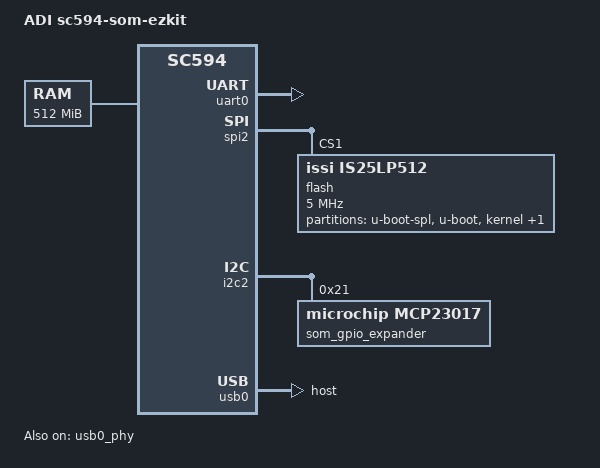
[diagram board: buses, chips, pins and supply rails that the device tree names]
/*
 * Device tree for ADI sc594-som-ezkit board
 *
 * Copyright 2014 - 2020 Analog Devices Inc.
 *
 * Licensed under the GPL-2 or later.
 *
 */

/dts-v1/;

#include <dt-bindings/gpio/gpio.h>
#include <dt-bindings/pinctrl/adi,adsp-sc594-pinctrl.h>
#include <dt-bindings/pinctrl/adi-adsp-sru.h>
#include <dt-bindings/net/ti-dp83867.h>
#include "sc59x.dtsi"

/ {
	model = "ADI sc594-som-ezkit";
	compatible = "adi,sc594-som-ezkit", "adi,sc59x";

	chosen {
		stdout-path = &uart1;
	};

	aliases {
	};

	memory@80000000 { /*4 Gbit DDR*/
		device_type = "memory";
		reg = <0xa0000000 0x20000000>;
	};

	reserved-memory {
		vdev0vrings: vdev0vring0@20080000 {
			reg = <0x20080000 0x4000>;
			no-map;
		};

		vdev0buffer: vdev0buffer@20084000 {
			compatible = "shared-dma-pool";
			reg = <0x20084000 0x20000>;
			no-map;
		};

		vdev1vrings: vdev0vring0@200A4000 {
			reg = <0x200A4000 0x4000>;
			no-map;
		};

		vdev1buffer: vdev0buffer@200A8000 {
			compatible = "shared-dma-pool";
			reg = <0x200A8000 0x20000>;
			no-map;
		};
	};

	scb {
		sharc0: core1-rproc@28240000 {
			compatible = "adi,remoteproc";
			reg = <0x28240000 0x160000>,
					<0x20000000 0x200000>;
			core-id = <1>;
			firmware-name = "adi_adsp_core1_fw.ldr";
			interrupts = <GIC_SPI 165 IRQ_TYPE_EDGE_RISING>; /* TRU0_SLV3 */
			adi,svect = <&rcu 0x30>;
			resets = <&rcu 1 0>, <&rcu 1 1>;
			reset-names = "crst", "start";
			mboxes = <&tru 140>; /* trigger master SOFT4 */
			mbox-names = "kick";
			adi,l1-da = <0x240000 0x3a0000>;
			adi,l2-da = <0x20000000 0x20200000>;
			adi,rsc-table = <&rsc_tbl0>;
			adi,verify = <1>;
			status = "okay";
		};

		sharc1: core2-rproc@28a40000 {
			compatible = "adi,remoteproc";
			reg = <0x28a40000 0x160000>,
					<0x20000000 0x200000>;
			core-id = <2>;
			firmware-name = "adi_adsp_core2_fw.ldr";
			interrupts = <GIC_SPI 165 IRQ_TYPE_EDGE_RISING>; /* TRU0_SLV3 */
			adi,svect = <&rcu 0x34>;
			resets = <&rcu 2 0>, <&rcu 2 1>;
			reset-names = "crst", "start";
			mboxes = <&tru 141>; /* trigger master SOFT5 */
			mbox-names = "kick";
			adi,l1-da = <0x240000 0x3a0000>;
			adi,l2-da = <0x20000000 0x20200000>;
			adi,rsc-table = <&rsc_tbl1>;
			adi,verify = <1>;
			status = "okay";
		};

	};
};

&uart0 {
	pinctrl-names = "default";
	pinctrl-0 = <&uart0_default>;
	status = "okay";
};

&rtc0 {
	status = "disabled";
};

&spi0 {
	pinctrl-names = "default";
	pinctrl-0 = <&spi0_default>;
	status = "disabled";

	cs-gpios = <&gpc 12 GPIO_ACTIVE_LOW>,
				<&gpc 0 GPIO_ACTIVE_LOW>;

	spidev@0 {
		#address-cells = <1>;
		#size-cells = <1>;
		compatible = "rohm,dh2228fv";
		spi-max-frequency = <5000000>;
		reg = <0>;
	};
};

&spi1 {
	pinctrl-names = "default";
	pinctrl-0 = <&spi1_default>;
	status = "disabled";

	cs-gpios = <&gpa 13 GPIO_ACTIVE_LOW>;

	spidev@0{
		compatible = "rohm,dh2228fv";
		spi-max-frequency = <5000000>;
		reg = <0>;
	};
};

&spi2 {
	pinctrl-names = "default";
	pinctrl-0 = <&spi2_quad>;

	status = "okay";

	flash@1 {
		#address-cells = <1>;
		#size-cells = <1>;
		compatible = "issi,is25lp512", "jedec,spi-nor";
		spi-max-frequency = <5000000>;
		reg = <1>;
		spi-cpol;
		spi-cpha;
		spi-rx-bus-width = <4>;
		/*adi,enable-dma;*/

		qspi_0: partition@0 {
			label = "u-boot-spl";
			reg = <0x0 0x40000>;
		};

		qspi_1: partition@1 {
			label = "u-boot";
			reg = <0x40000 0xc0000>;
		};

		qspi_2: partition@3 {
			label = "kernel";
			reg = <0x00100000 0xf00000>;
		};

		qspi_3: partition@4 {
			label = "rootfs";
			reg = <0x1000000 0x3000000>;
		};

	};

};

&ospi {
	pinctrl-names = "default";
	pinctrl-0 = <&ospi_default>;

	status = "disabled";

	flash@0 {
		#address-cells = <1>;
		#size-cells = <1>;
		compatible = "issi,is25lx256", "jedec,spi-nor";
		reg = <0>;

		spi-tx-bus-width = <8>;
		spi-rx-bus-width = <8>;
		spi-max-frequency = <125000000>;

		cdns,read-delay = <4>;
		cdns,tshsl-ns = <50>;
		cdns,tsd2d-ns = <255>;
		cdns,tchsh-ns = <8>;
		cdns,tslch-ns = <8>;

		partitions {
			compatible = "fixed-partitions";
			#address-cells = <1>;
			#size-cells = <1>;

			ospi_0: partition@0 {
				label = "u-boot-spl";
				reg = <0x0 0x40000>;
			};

			ospi_1: partition@1 {
				label = "u-boot";
				reg = <0x40000 0xc0000>;
			};

			ospi_2: partition@3 {
				label = "kernel";
				reg = <0x100000 0xf00000>;
			};

			ospi_3: partition@4 {
				label = "rootfs";
				reg = <0x01000000 0x1000000>;
			};
		};
	};
};

&i2c2 {
	status = "okay";

	som_gpio_expander: gpio@21 {
		compatible = "microchip,mcp23017";
		gpio-controller;
		#gpio-cells = <2>;
		reg = <0x21>;

		led1 {
			gpio-hog;
			gpios = <0 GPIO_ACTIVE_HIGH>;
			output-high;
			line-name = "led1-en";
		};

		led2 {
			gpio-hog;
			gpios = <1 GPIO_ACTIVE_HIGH>;
			output-high;
			line-name = "led2-en";
		};

		led3 {
			gpio-hog;
			gpios = <2 GPIO_ACTIVE_HIGH>;
			output-high;
			line-name = "led3-en";
		};

		spi2flash-cs {
			gpio-hog;
			gpios = <3 GPIO_ACTIVE_LOW>;
			output-high;
			line-name = "spi2flash-cs";
		};

		spi2d2-d3 {
			gpio-hog;
			gpios = <4 GPIO_ACTIVE_LOW>;
			output-high;
			line-name = "spi2d2-d3-en";
		};

		uart0 {
			gpio-hog;
			gpios = <5 GPIO_ACTIVE_LOW>;
			output-high;
			line-name = "uart0-en";
		};

		uart0-flow-en {
			gpio-hog;
			gpios = <6 GPIO_ACTIVE_LOW>;
			output-low;
			line-name = "uart0-flow-en";
		};

		ospiflash-cs {
			gpio-hog;
			gpios = <7 GPIO_ACTIVE_LOW>;
			output-high;
			line-name = "ospiflash-cs";
		};
	};
};

&usb0_phy {
	reset-gpios = <&gpg 11 GPIO_ACTIVE_LOW>;
	status = "okay";
};

&usb0 {
	dr_mode = "host";
	pinctrl-names = "default";
	pinctrl-0 = <&usbc0_default>;
	status = "okay";
};


&sram_mmap {
	status = "okay";
};

&pinctrl {
	uart0_default: uart0-default-pins {
		pinmux = <SC594_PA06__UART0_TX
			  SC594_PA07__UART0_RX>;
	};

	uart0_hwflow: uart0-hwflow-pins {
		pinmux = <SC594_PA06__UART0_TX
			  SC594_PA07__UART0_RX
			  SC594_PA08__UART0_RTS
			  SC594_PA09__UART0_CTS>;
	};

	spi0_default: spi0-default-pins {
		pinmux = <SC594_PA06__SPI0_CLK
			  SC594_PA07__SPI0_MISO
			  SC594_PA08__SPI0_MOSI>;
	};

	spi1_default: spi1-default-pins {
		pinmux = <SC594_PA10__SPI1_CLK
			  SC594_PA11__SPI1_MISO
			  SC594_PA12__SPI1_MOSI>;
	};

	spi2_quad: spi2-quad-pins {
		pinmux = <SC594_PA00__SPI2_MISO
			  SC594_PA01__SPI2_MOSI
			  SC594_PA02__SPI2_D2
			  SC594_PA03__SPI2_D3
			  SC594_PA04__SPI2_CLK
			  SC594_PA05__SPI2_SEL1>;
	};

	ospi_default: ospi-default-pins {
		pinmux = <SC594_PC08__OSPI0_CLK
			  SC594_PC09__OSPI0_D3
			  SC594_PC10__OSPI0_D2
			  SC594_PC11__OSPI0_MOSI
			  SC594_PC12__OSPI0_MISO
			  SC594_PC13__OSPI0_D7
			  SC594_PC14__OSPI0_D6
			  SC594_PC15__OSPI0_D5
			  SC594_PD00__OSPI0_D4
			  SC594_PD01__OSPI0_SEL1
			  SC594_PD04__OSPI0_DQS>;
	};

	i2c2_pins: i2c2-default-pins {
		pinmux = <SC594_PA14__TWI2_SCL
			  SC594_PA15__TWI2_SDA>;
	};

	eth0_default: eth0-default-pins {
		pinmux = <SC594_PH03__ETH0_MDC
			  SC594_PH04__ETH0_MDIO
			  SC594_PH05__ETH0_RXD0
			  SC594_PH06__ETH0_RXD1
			  SC594_PH07__ETH0_RXCLK_REFCLK
			  SC594_PH08__ETH0_RXCTL_RXDV
			  SC594_PH09__ETH0_TXD0
			  SC594_PH10__ETH0_TXD1
			  SC594_PH11__ETH0_RXD2
			  SC594_PH12__ETH0_RXD3
			  SC594_PH13__ETH0_TXCTL_TXEN
			  SC594_PH14__ETH0_TXCLK
			  SC594_PH15__ETH0_TXD2
			  SC594_PI00__ETH0_TXD3>;
	};

	eth1_default: eth1-default-pins {
		pinmux = <SC594_PE11__ETH1_REFCLK
			  SC594_PE12__ETH1_TXEN
			  SC594_PE13__ETH1_TXD0
			  SC594_PE14__ETH1_TXD1
			  SC594_PE15__ETH1_RXD0
			  SC594_PF00__ETH1_RXD1
			  SC594_PF01__ETH1_MDIO
			  SC594_PF02__ETH1_MDC
			  SC594_PF03__ETH1_CRS>;
	};

	usbc0_default: usbc0-default-pins {
		pinmux = <SC594_PF03__USBC0_STOP
			  SC594_PF04__USBC0_DATA7
			  SC594_PF05__USBC0_DATA6
			  SC594_PF06__USBC0_DATA5
			  SC594_PF07__USBC0_DATA4
			  SC594_PF08__USBC0_NXT
			  SC594_PF09__USBC0_DIR
			  SC594_PF10__USBC0_DATA3
			  SC594_PF11__USBC0_DATA2
			  SC594_PF12__USBC0_DATA1
			  SC594_PF13__USBC0_DATA0
			  SC594_PF14__USBC0_CLK>;
	};
};

&tru {
	rpmsg_to_a55: channel@0 {
		adi,tru-master-id = <139>; /* trigger master SOFT3 */
		adi,tru-slave-id = <160>; /* TRU0_IRQ3 */
	};
	rpmsg_to_sharc0: channel@1 {
		adi,tru-master-id = <140>; /* trigger master SOFT4 */
		adi,tru-slave-id = <164>; /* TRU0_IRQ7 */
	};
	rpmsg_to_sharc1: channel@2 {
		adi,tru-master-id = <141>; /* trigger master SOFT5 */
		adi,tru-slave-id = <168>; /* TRU0_IRQ11 */
	};
};
